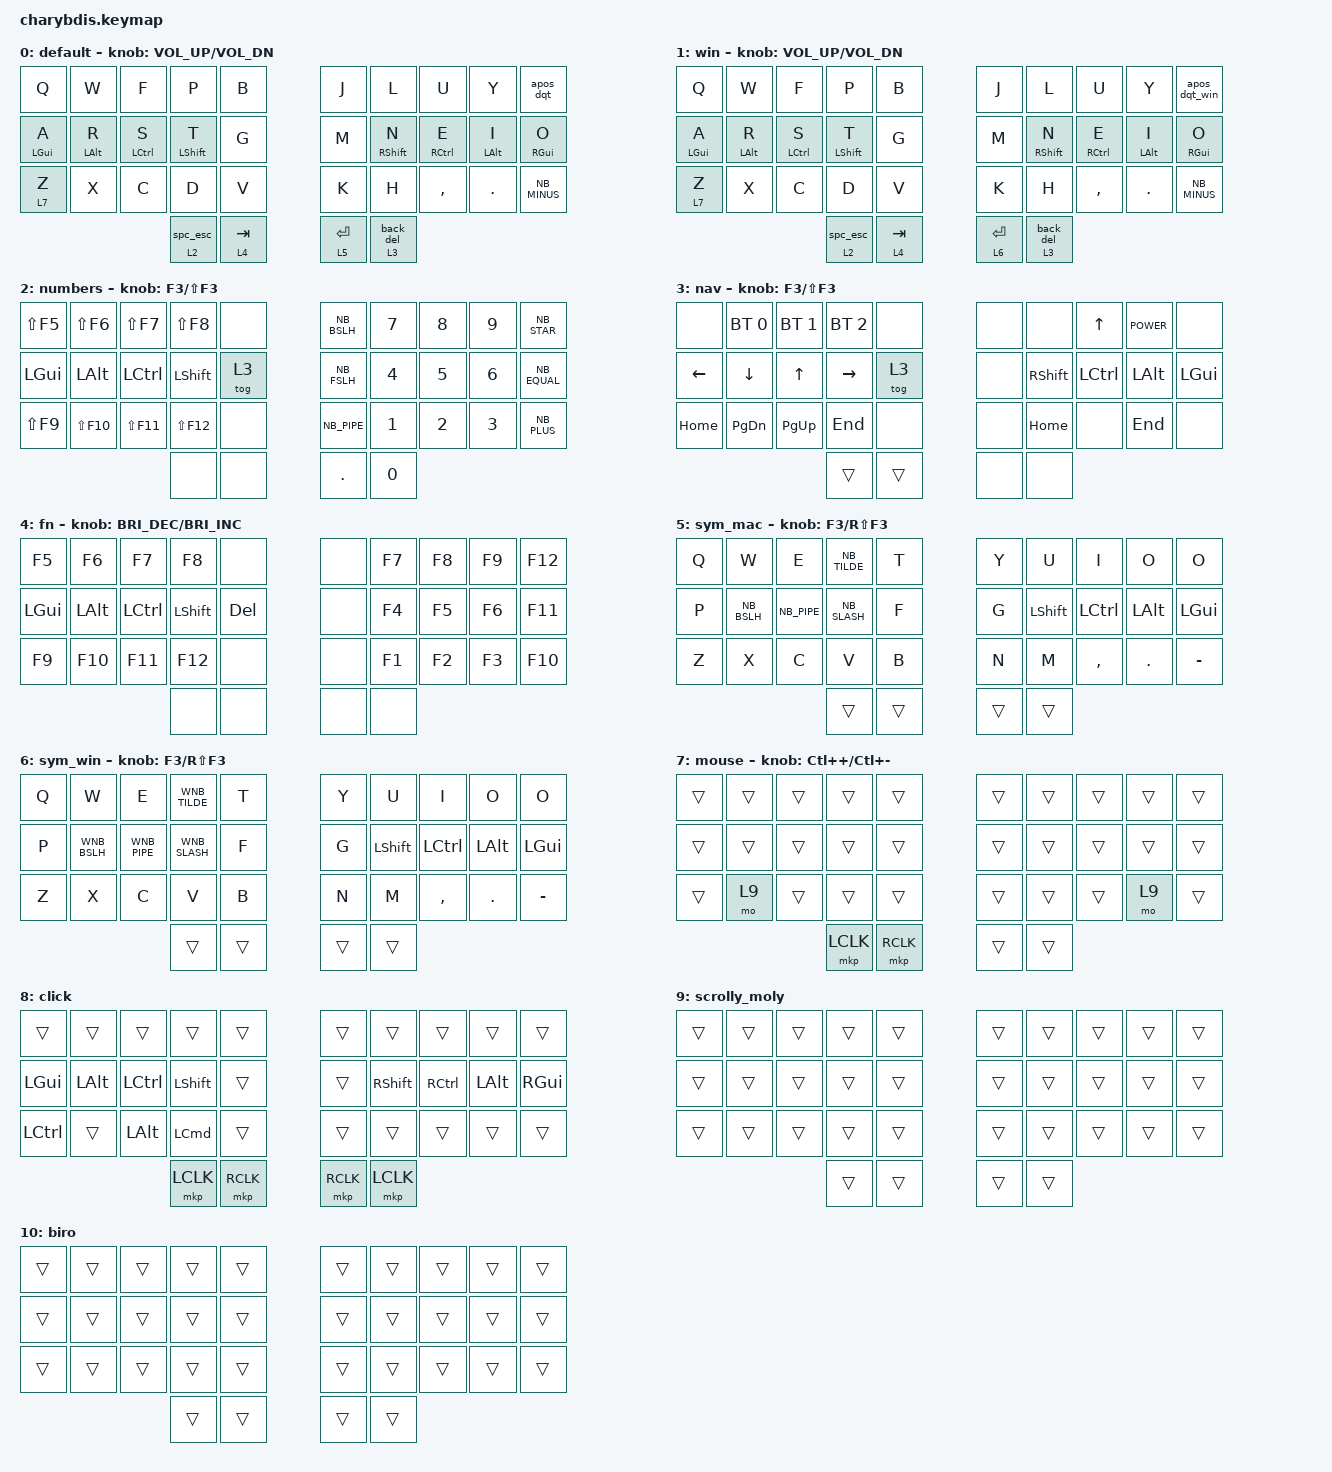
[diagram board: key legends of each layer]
#include "keys_nb_osx.h"
#include "keys_nb_win.h"
#include <behaviors.dtsi>
#include <dt-bindings/zmk/bt.h>
#include <dt-bindings/zmk/keys.h>
#include <dt-bindings/zmk/mouse.h>

#define WIN 1
#define SYMBOLS 2
#define NUMBERS 3
#define NAV 4
#define FUNCTION 5
#define BLUETOOTH 6
#define MOUSE 7
#define CLICK 8
#define SCRL 9
#define BIRO 10


// tapping-term-ms

#define TT 160

&caps_word { continue-list = <NB_UNDERSCORE NB_MINUS BACKSPACE DEL>; };

/ {
    chosen { zmk,matrix_transform = &five_column_transform; };
};

/ {
    combos {
        compatible = "zmk,combos";

        combo_ques {
            timeout-ms = <35>;
            key-positions = <7 6>;
            bindings = <&ques_excl>;
        };

        aa {
            timeout-ms = <35>;
            bindings = <&kp LEFT_BRACKET>;
            key-positions = <26 27>;
        };

        ae {
            timeout-ms = <35>;
            bindings = <&kp APOS>;
            key-positions = <3 2>;
        };

        oe {
            timeout-ms = <35>;
            bindings = <&kp SEMI>;
            key-positions = <23 22>;
        };

        combo_paras {
            bindings = <&paras>;
            key-positions = <7 8>;
        };

        combo_squares {
            bindings = <&squares>;
            key-positions = <27 28>;
        };

        combo-curles {
            bindings = <&curles>;
            key-positions = <2 1>;
            layers = <0>;
        };

        combo-curles_win {
            bindings = <&curles_win>;
            key-positions = <2 1>;
            layers = <1>;
        };

        combo_crocs {
            bindings = <&kp NB_LT>;
            key-positions = <22 21>;
            layers = <0>;
        };

        combo_crocs_win {
            bindings = <&kp WNB_LT>;
            key-positions = <22 21>;
            layers = <1>;
        };

        combo_at {
            bindings = <&kp NB_AT>;
            key-positions = <2 7>;
            layers = <0>;
        };

        caps_word_combo {
            bindings = <&caps_word>;
            key-positions = <11 18>;
        };

        amp_combo {
            bindings = <&kp NB_AMPS>;
            key-positions = <13 16>;
        };

        grave_combo {
            bindings = <&kp NB_GRAVE>;
            key-positions = <1 8>;
        };

        dollar_combo {
            bindings = <&kp NB_DLLR>;
            key-positions = <12 17>;
            layers = <0>;
        };

        percent_combo {
            bindings = <&kp NB_PRCNT>;
            key-positions = <16 7>;
        };

        hash_combo {
            bindings = <&kp NB_HASH>;
            key-positions = <23 26>;
        };

        win_curl_l {
            bindings = <&kp WNB_LBRC>;
            key-positions = <2 1>;
            layers = <1>;
        };

        win_curl_r {
            bindings = <&kp WNB_RBRC>;
            key-positions = <22 21>;
            layers = <1>;
        };

        win_at {
            bindings = <&kp WNB_AT>;
            key-positions = <2 7>;
            layers = <1>;
        };

        pipe_mac {
            bindings = <&kp NB_PIPE>;
            key-positions = <7 17>;
            layers = <0>;
        };

        pipe_win {
            bindings = <&kp WNB_PIPE>;
            key-positions = <7 17>;
            layers = <1>;
        };

        bslh_mac {
            bindings = <&kp NB_BSLH>;
            key-positions = <8 18>;
            layers = <0>;
        };

        bslh_win {
            bindings = <&kp WNB_BSLH>;
            key-positions = <8 18>;
            layers = <1>;
        };

        fslh_combo {
            bindings = <&kp NB_FSLH>;
            key-positions = <6 16>;

            //global
        };

        dollar_win {
            bindings = <&kp WNB_DLLR>;
            key-positions = <12 17>;
            layers = <1>;
        };

        pnd_mac {
            bindings = <&kp NB_POUND_SIGN>;
            key-positions = <3 6>;
            layers = <0>;
        };

        pnd_win {
            bindings = <&kp WNB_POUND_SIGN>;
            key-positions = <3 6>;
            layers = <1>;
        };

        win_def {
            bindings = <&tog 1>;
            key-positions = <30 33>;
        };

        btn1_r {
            bindings = <&mkp MB1>;
            key-positions = <16 26>;
        };

        mb2_r {
            bindings = <&mkp MB2>;
            key-positions = <17 27>;
        };

        scrl_r {
            bindings = <&mo 9>;
            key-positions = <18 28>;
        };

        thumb_esc {
            bindings = <&kp ESCAPE>;
            key-positions = <30 31>;
        };

        thumb_esct2 {
            bindings = <&kp ESCAPE>;
            key-positions = <33 32>;
        };
    };
};

/ {
    behaviors {
        hml: hml {
            compatible = "zmk,behavior-hold-tap";
            #binding-cells = <2>;
            flavor = "balanced";
            tapping-term-ms = <280>;
            quick-tap-ms = <175>;                // repeat on tap-into-hold
            bindings = <&kp>, <&kp>;

            hold-trigger-key-positions = <5 6 7 8 9 15 16 17 18 19 25 26 27 28 29 33 34 31 32>;
            hold-trigger-on-release;
            require-prior-idle-ms = <149>;
        };

        hmr: hmr {
            compatible = "zmk,behavior-hold-tap";
            #binding-cells = <2>;
            flavor = "balanced";
            tapping-term-ms = <280>;
            quick-tap-ms = <175>;                // repeat on tap-into-hold
            bindings = <&kp>, <&kp>;

            hold-trigger-key-positions = <0 1 2 3 4 10 11 12 13 14 20 21 22 23 24 30 31 32 34 33>;
            hold-trigger-on-release;
            require-prior-idle-ms = <150>;
        };

        hmpt: homerow_mods_prefer_tap {
            compatible = "zmk,behavior-hold-tap";
            #binding-cells = <2>;
            tapping-term-ms = <TT>;
            quick-tap-ms = <0>;
            flavor = "tap-preferred";
            bindings = <&kp>, <&kp>;
        };

        blt: balanced_layer_tap {
            compatible = "zmk,behavior-hold-tap";
            #binding-cells = <2>;
            tapping-term-ms = <TT>;
            quick-tap-ms = <0>;
            flavor = "balanced";
            bindings = <&mo>, <&kp>;
        };

        tt: toggle_layer_tap {
            compatible = "zmk,behavior-hold-tap";
            #binding-cells = <2>;
            tapping-term-ms = <250>;
            flavor = "tap-preferred";
            bindings = <&kp>, <&tog>;
        };

        repeat_encoder: repeat_encoder {
            compatible = "zmk,behavior-sensor-rotate";
            #sensor-binding-cells = <0>;
            bindings = <&kp BSPC>, <&key_repeat>;
        };

        tsl: behavior_trackball_scroll {
            compatible = "zmk,behavior-point-device-incremental";
            #trackball-binding-cells = <0>;
            mode = "scroll-mode";
            flavor = "default";
            scale_mode = "dividor";
            scale_factor = <4>;
            smoothing;
        };

        tkp_fast: behavior_trackball_key_press {
            compatible = "zmk,behavior-point-device-directional";
            #trackball-binding-cells = <4>;
            mode = "distance-mode";
            flavor = "2-dim";
            step_size = <50>;
        };

        lt_bspc: layer_tap_bspc_del {
            compatible = "zmk,behavior-hold-tap";
            #binding-cells = <2>;
            bindings = <&mo>, <&back_del>;

            tapping-term-ms = <200>;
        };

        lt_spcesc: layer_tap_space_esc {
            compatible = "zmk,behavior-hold-tap";
            #binding-cells = <2>;
            bindings = <&mo>, <&spc_esc>;

            tapping-term-ms = <200>;
        };

        apos_dqt: quot_doublequot {
            compatible = "zmk,behavior-mod-morph";
            #binding-cells = <0>;
            bindings = <&kp NB_SINGLE_QUOTE>, <&kp NB_DQT>;

            mods = <(MOD_LSFT|MOD_RSFT)>;
        };

        apos_dqt_win: quot_doublequot_win {
            compatible = "zmk,behavior-mod-morph";
            #binding-cells = <0>;
            bindings = <&kp WNB_APOS>, <&kp WNB_DQT>;

            mods = <(MOD_LSFT|MOD_RSFT)>;
        };

        ques_excl: questionmark_exlamation_mark {
            compatible = "zmk,behavior-mod-morph";
            #binding-cells = <0>;
            bindings = <&kp NB_QMARK>, <&kp NB_EXCL>;

            mods = <(MOD_LSFT|MOD_RSFT)>;
        };

        paras: paras {
            compatible = "zmk,behavior-mod-morph";
            bindings = <&kp NB_LPAR>, <&kp NB_RPAR>;

            #binding-cells = <0>;
            mods = <(MOD_LSFT)>;
        };

        squares: squares {
            compatible = "zmk,behavior-mod-morph";
            bindings = <&kp NB_LBKT>, <&kp NB_RBKT>;

            #binding-cells = <0>;
            mods = <(MOD_LSFT)>;
        };

        curles: curles {
            compatible = "zmk,behavior-mod-morph";
            bindings = <&kp NB_LBRC>, <&kp NB_RBRC>;

            #binding-cells = <0>;
            mods = <(MOD_RSFT)>;
        };

        curles_win: curles_win {
            compatible = "zmk,behavior-mod-morph";
            bindings = <&kp WNB_LBRC>, <&kp WNB_RBRC>;

            #binding-cells = <0>;
            mods = <(MOD_RSFT)>;
        };

        crocs: crocs {
            compatible = "zmk,behavior-mod-morph";
            bindings = <&kp NB_GT>, <&kp NB_LT>;

            #binding-cells = <0>;
            mods = <(MOD_RSFT)>;
        };

        shift_space: shift_space {
            compatible = "zmk,behavior-mod-morph";
            bindings = <&kp SPACE>, <&kp ESC>;

            #binding-cells = <0>;
            mods = <(MOD_RSFT)>;
        };

        back_del: back_del {
            compatible = "zmk,behavior-mod-morph";
            bindings = <&kp BACKSPACE>, <&kp DEL>;

            #binding-cells = <0>;
            mods = <(MOD_LSFT)>;
            keep-mods = <(MOD_LSFT)>;
        };

        spc_esc: spc_esc {
            compatible = "zmk,behavior-mod-morph";
            bindings = <&kp SPACE>, <&kp ESC>;

            #binding-cells = <0>;
            mods = <(MOD_RSFT)>;
            keep-mods = <(MOD_RSFT)>;
        };
    };

    keymap {
        compatible = "zmk,keymap";

        default {
            // --------------------------------------------------------------------------------------------------------------------------------------------------------------------
            //  '    |  ,  |  .  |  P/Nav  |  Y  |                             |  F/Fn  |  G  |  C/Caps  |    R    |  L   |
            // A/Sym |  O/Ctrl  |  E/Alt [A->F13]? |  U/Cmd  |  I  |           |  D  |  H/Cmd  |  T/Alt  |    N/Ctrl    |  S/Sym |
            // Esc/Lsft|  Q/Click  |  J  |  K  |  X  |                               |  B  |  M  |  N  |    V    |Z/Rsft|
            // | Media/Play-Pause | Bspc/LC | SPC/Num/RC |                                                       | Ent | Tab |     |

            bindings = <
  &kp Q        &kp W        &kp F         &kp P           &kp B         &kp J        &kp L               &kp U         &kp Y        &apos_dqt
  &hml LGUI A  &hml LALT R  &hml LCTRL S  &hml LSHFT T    &kp G         &kp M        &hmr RIGHT_SHIFT N  &hmr RCTRL E  &hmr LALT I  &hmr RGUI O
  &lt 7 Z      &kp X        &kp C         &kp D           &kp V         &kp K        &kp H               &kp COMMA     &kp DOT      &kp NB_MINUS
                                          &lt_spcesc 2 0  &blt 4 TAB    &lt 5 ENTER  &lt_bspc 3 0
            >;

            sensor-bindings = <&inc_dec_kp C_VOL_UP C_VOL_DN>;
        };

        win {
            // --------------------------------------------------------------------------------------------------------------------------------------------------------------------
            //  '    |  ,  |  .  |  P/Nav  |  Y  |                             |  F/Fn  |  G  |  C/Caps  |    R    |  L   |
            // A/Sym |  O/Ctrl  |  E/Alt [A->F13]? |  U/Cmd  |  I  |           |  D  |  H/Cmd  |  T/Alt  |    N/Ctrl    |  S/Sym |
            // Esc/Lsft|  Q/Click  |  J  |  K  |  X  |                               |  B  |  M  |  N  |    V    |Z/Rsft|
            // | Media/Play-Pause | Bspc/LC | SPC/Num/RC |                                                       | Ent | Tab |     |

            bindings = <
  &kp Q        &kp W        &kp F         &kp P           &kp B         &kp J        &kp L               &kp U         &kp Y        &apos_dqt_win
  &hml LGUI A  &hml LALT R  &hml LCTRL S  &hml LSHFT T    &kp G         &kp M        &hmr RIGHT_SHIFT N  &hmr RCTRL E  &hmr LALT I  &hmr RGUI O
  &lt 7 Z      &kp X        &kp C         &kp D           &kp V         &kp K        &kp H               &kp COMMA     &kp DOT      &kp NB_MINUS
                                          &lt_spcesc 2 0  &blt 4 TAB    &lt 6 ENTER  &lt_bspc 3 0
            >;

            sensor-bindings = <&inc_dec_kp C_VOL_UP C_VOL_DN>;
        };

        numbers {
            // --------------------------------------------------------------------------------------------------------------------------------------------------------------------
            //   s-f5  |  s-f6  |  s-f7 |  s-f8  |   |            |         |    4/<    |    5/>   |  6/*  |   7//  |
            //    s-f1   |  s-f2 |  s-f3 | s-f4 |   |             |   DEL   |    0/=    |    1/-   | 2/: |   3/;  |
            //     s-f9   | s-f10 | s-f11 | s-f12 |   |           |         |    8/+    |    9/_   | +/- | *//  |
            //         |      |     |      |     |      |    .    |    =    |      |

            bindings = <
  &kp LS(F5)    &kp LS(F6)   &kp LS(F7)   &kp LS(F8)   &none     &kp NB_BSLH  &kp N7  &kp N8  &kp N9  &kp NB_STAR
  &kp LEFT_GUI  &kp LALT     &kp LCTRL    &kp LSHIFT   &tog 3    &kp NB_FSLH  &kp N4  &kp N5  &kp N6  &kp NB_EQUAL
  &kp LS(F9)    &kp LS(F10)  &kp LS(F11)  &kp LS(F12)  &none     &kp NB_PIPE  &kp N1  &kp N2  &kp N3  &kp NB_PLUS
                                          &none        &none     &kp DOT      &kp N0
            >;

            sensor-bindings = <&inc_dec_kp F3 LS(F3)>;
        };

        nav {
            // --------------------------------------------------------------------------------------------------------------------------------------------------------------------
            //     |     |     |     |     |                |         |         |    ^   |     |      |
            //     |     |     |     |     |                |         |    <    |    v   |  >  |      |
            //     |     |     |     |     |                |         |   HOME  |        | END |      |
            //         |      |     |      |     |      |    PgDN   |   PgUP  |      |

            bindings = <
  &none     &bt BT_SEL 0  &bt BT_SEL 1  &bt BT_SEL 2  &none     &none  &none            &kp UP     &kp C_POWER  &none
  &kp LEFT  &kp DOWN      &kp UP        &kp RIGHT     &tog 3    &none  &kp RIGHT_SHIFT  &kp LCTRL  &kp LALT     &kp LGUI
  &kp HOME  &kp PG_DN     &kp PG_UP     &kp END       &none     &none  &kp HOME         &none      &kp END      &none
                                        &trans        &trans    &none  &none
            >;

            sensor-bindings = <&inc_dec_kp F3 LS(F3)>;
        };

        fn {
            // --------------------------------------------------------------------------------------------------------------------------------------------------------------------
            //  F5 |  F6 | F7  | F8  |     |                |         |         |        |     |      |
            //  F1 |  F2 | F3  | F4  | DEL |                |         |         |        |     |      |
            //  F9 | F10 | F11 | F12 |     |                |   ,,    |   ,,    |        |     |      |
            //         |      |     |      |     |      |           |         |      |

            bindings = <
  &kp F5    &kp F6    &kp F7     &kp F8      &none      &none  &kp F7  &kp F8  &kp F9  &kp F12
  &kp LGUI  &kp LALT  &kp LCTRL  &kp LSHIFT  &kp DEL    &none  &kp F4  &kp F5  &kp F6  &kp F11
  &kp F9    &kp F10   &kp F11    &kp F12     &none      &none  &kp F1  &kp F2  &kp F3  &kp F10
                                 &none       &none      &none  &none
            >;

            sensor-bindings = <&inc_dec_kp C_BRI_DEC C_BRI_INC>;
        };

        sym_mac {
            bindings = <
  &kp Q  &kp W        &kp E        &kp NB_TILDE  &kp T     &kp Y   &kp U      &kp I      &kp O     &kp O
  &kp P  &kp NB_BSLH  &kp NB_PIPE  &kp NB_SLASH  &kp F     &kp G   &kp LSHFT  &kp LCTRL  &kp LALT  &kp LEFT_GUI
  &kp Z  &kp X        &kp C        &kp V         &kp B     &kp N   &kp M      &kp COMMA  &kp DOT   &kp MINUS
                                   &trans        &trans    &trans  &trans
            >;

            sensor-bindings = <&inc_dec_kp F3 RS(F3)>;
        };

        sym_win {
            bindings = <
  &kp Q  &kp W         &kp E         &kp WNB_TILDE  &kp T     &kp Y   &kp U       &kp I      &kp O     &kp O
  &kp P  &kp WNB_BSLH  &kp WNB_PIPE  &kp WNB_SLASH  &kp F     &kp G   &kp LSHIFT  &kp LCTRL  &kp LALT  &kp LGUI
  &kp Z  &kp X         &kp C         &kp V          &kp B     &kp N   &kp M       &kp COMMA  &kp DOT   &kp MINUS
                                     &trans         &trans    &trans  &trans
            >;

            sensor-bindings = <&inc_dec_kp F3 RS(F3)>;
        };

        mouse {
            bindings = <
  &trans  &trans  &trans  &trans     &trans       &trans  &trans  &trans  &trans  &trans
  &trans  &trans  &trans  &trans     &trans       &trans  &trans  &trans  &trans  &trans
  &trans  &mo 9   &trans  &trans     &trans       &trans  &trans  &trans  &mo 9   &trans
                          &mkp LCLK  &mkp RCLK    &trans  &trans
            >;

            sensor-bindings = <&inc_dec_kp LC(PLUS) LC(MINUS)>;
        };

        click {
            bindings = <
  &trans     &trans    &trans     &trans      &trans       &trans     &trans           &trans     &trans    &trans
  &kp LGUI   &kp LALT  &kp LCTRL  &kp LSHIFT  &trans       &trans     &kp RIGHT_SHIFT  &kp RCTRL  &kp LALT  &kp RGUI
  &kp LCTRL  &trans    &kp LALT   &kp LCMD    &trans       &trans     &trans           &trans     &trans    &trans
                                  &mkp LCLK   &mkp RCLK    &mkp RCLK  &mkp LCLK
            >;
        };

        scrolly_moly {
            bindings = <
  &trans  &trans  &trans  &trans  &trans    &trans  &trans  &trans  &trans  &trans
  &trans  &trans  &trans  &trans  &trans    &trans  &trans  &trans  &trans  &trans
  &trans  &trans  &trans  &trans  &trans    &trans  &trans  &trans  &trans  &trans
                          &trans  &trans    &trans  &trans
            >;
        };

        biro {
            bindings = <
  &trans  &trans  &trans  &trans  &trans    &trans  &trans  &trans  &trans  &trans
  &trans  &trans  &trans  &trans  &trans    &trans  &trans  &trans  &trans  &trans
  &trans  &trans  &trans  &trans  &trans    &trans  &trans  &trans  &trans  &trans
                          &trans  &trans    &trans  &trans
            >;
        };
    };
};
